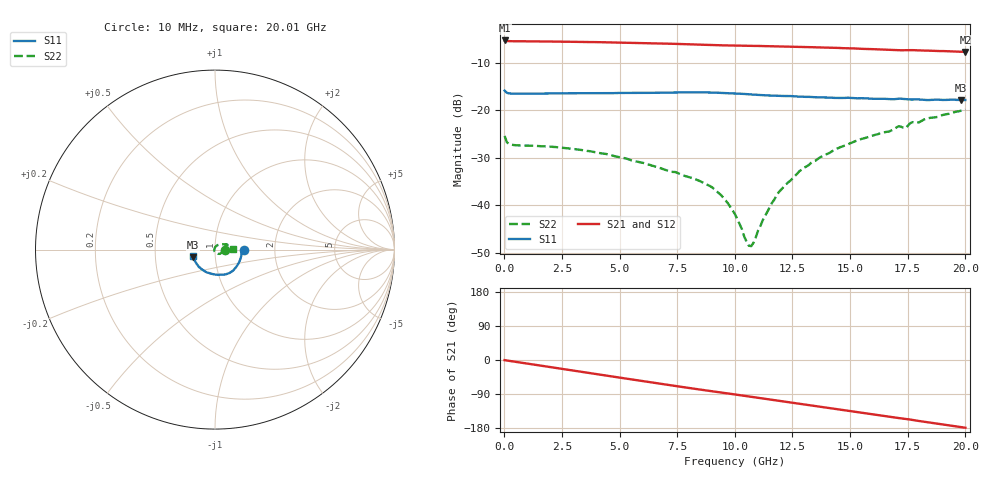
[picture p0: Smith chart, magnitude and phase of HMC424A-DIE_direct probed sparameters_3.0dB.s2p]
!s2p File: Measurements: S11, S21, S12, S22
# GHz S dB R 50.0
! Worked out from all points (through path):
!   201 points, 10 MHz to 20.01 GHz, reference 50 ohm
!   highest |S21| = -5.35 dB at 10 MHz (marker M1); lowest = -7.8 dB at 20.01 GHz (marker M2)
!   group delay of S21, straight-line fit = 24.7 ps
!   lowest |S11| = -17.9 dB at 19.81 GHz (marker M3), VSWR 1.29, Z = 39.1 - j3.21 ohm
!   |S11| at or under -10 dB: start of sweep to end of sweep
!   |S22| runs from -48.5 to -19.9 dB; largest |S21 - S12| = 0.0031
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0.01  -15.88 -1.3  -5.35 -0.4  -5.34 -0.4  -25.40 -3.2
0.11  -16.35 -2.3  -5.47 -1.5  -5.46 -1.5  -26.73 -6.5
0.31  -16.50 -2.6  -5.51 -3.2  -5.50 -3.2  -27.23 -6.0
3.41  -16.43 -18.7  -5.66 -31.8  -5.66 -31.8  -28.39 -33.7
6.71  -16.33 -39.3  -5.97 -62.1  -5.97 -62.1  -32.05 -60.5
8.21  -16.25 -50.4  -6.19 -75.5  -6.19 -75.5  -34.32 -71.7
9.01  -16.29 -57.5  -6.31 -82.5  -6.32 -82.4  -36.16 -85.1
9.41  -16.36 -61.1  -6.36 -85.8  -6.37 -85.8  -37.84 -94.6
10.01  -16.47 -66.3  -6.42 -91.0  -6.43 -90.9  -41.83 -115.4
10.51  -16.62 -70.5  -6.47 -95.2  -6.48 -95.2  -47.57 -157.7
10.71  -16.69 -72.1  -6.48 -97.0  -6.49 -96.9  -48.54 172.5
11.21  -16.85 -76.2  -6.53 -101.3  -6.53 -101.3  -43.13 112.1
11.91  -17.00 -81.9  -6.59 -107.5  -6.60 -107.5  -37.20 84.8
12.81  -17.14 -89.4  -6.69 -115.5  -6.71 -115.5  -32.77 68.0
13.41  -17.23 -94.7  -6.77 -120.9  -6.79 -120.8  -30.73 59.4
15.21  -17.48 -111.6  -7.03 -136.9  -7.04 -136.8  -26.53 39.7
16.71  -17.66 -127.9  -7.31 -149.9  -7.30 -149.8  -24.44 28.0
17.11  -17.59 -131.7  -7.41 -153.2  -7.35 -153.1  -23.37 24.5
17.41  -17.67 -135.7  -7.39 -155.5  -7.40 -155.7  -23.77 23.4
17.71  -17.75 -138.2  -7.38 -158.2  -7.42 -158.3  -22.50 20.3
19.81  -17.88 -161.6  -7.72 -177.0  -7.71 -176.8  -20.11 4.2
20.01  -17.86 -163.2  -7.75 -178.8  -7.73 -178.6  -19.88 2.7
